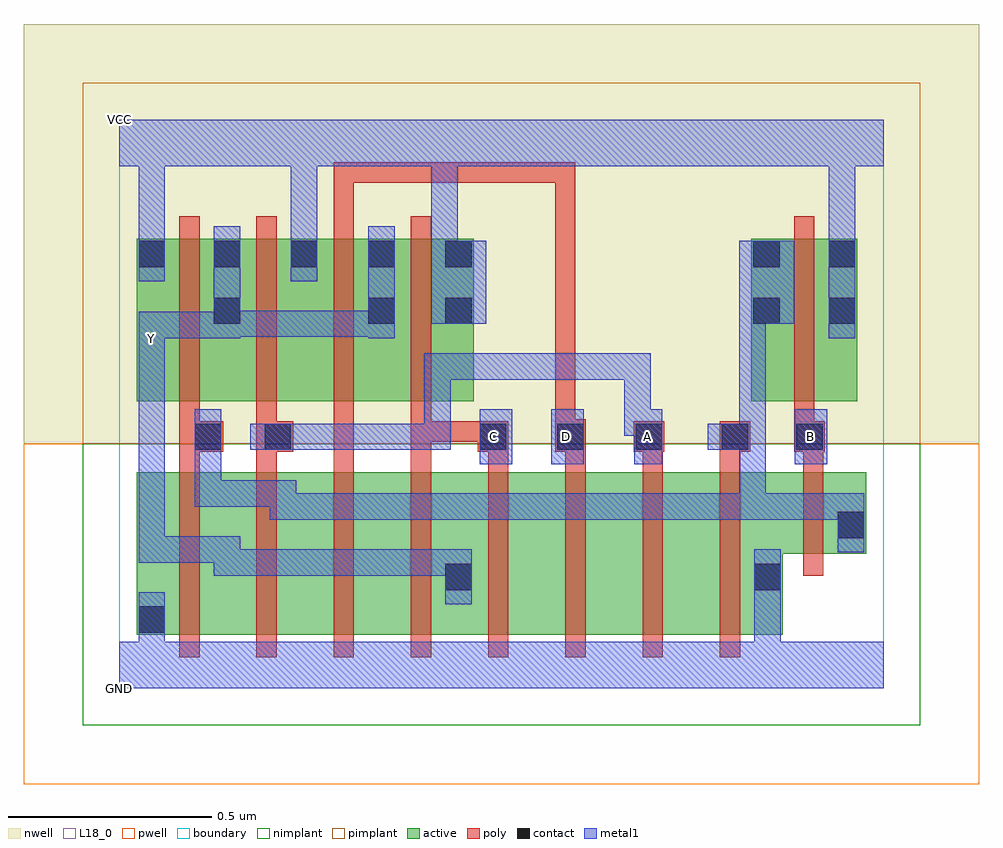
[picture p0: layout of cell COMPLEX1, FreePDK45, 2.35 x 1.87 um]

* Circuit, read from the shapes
.subckt COMPLEX1 A B C D GND VCC Y
M1 n1 n2 GND VSUBS nfet w=0.4u l=0.05u
M2 n3 A n1 VSUBS nfet w=0.4u l=0.05u
M3 n4 D n3 VSUBS nfet w=0.4u l=0.05u
M4 Y C n4 VSUBS nfet w=0.4u l=0.05u
M5 n5 C Y VSUBS nfet w=0.4u l=0.05u
M6 n6 D n5 VSUBS nfet w=0.4u l=0.05u
M7 n7 A n6 VSUBS nfet w=0.4u l=0.05u
M8 GND n2 n7 VSUBS nfet w=0.4u l=0.05u
M9 n2 B GND VSUBS nfet w=0.2u l=0.05u
M10 Y n2 VCC n8 pfet w=0.4u l=0.05u
M11 VCC A Y n8 pfet w=0.4u l=0.05u
M12 Y D VCC n8 pfet w=0.4u l=0.05u
M13 VCC C Y n8 pfet w=0.4u l=0.05u
M14 VCC B n2 n8 pfet w=0.4u l=0.05u
.ends

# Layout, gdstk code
import gdstk
lib = gdstk.Library(unit=1e-6, precision=1e-09)
def R(c, l, rs):  # rectangles x0, y0, x1, y1
    for r in rs: c.add(gdstk.rectangle(r[:2], r[2:], *l))
def A(c, l, x, y, w, h, nx, ny, dx, dy):  # array of equal rectangles
    R(c, l, [(x+i*dx, y+j*dy, x+i*dx+w, y+j*dy+h) for i in range(nx) for j in range(ny)])
active = (1, 0)
pwell = (2, 0)
nwell = (3, 0)
nimplant = (4, 0)
pimplant = (5, 0)
poly = (9, 0)
contact = (10, 0)
metal1 = (11, 0)
L18_0 = (18, 0)
boundary = (235, 0)

complex1 = lib.new_cell('COMPLEX1')
A(complex1, active, 0.227, 0.707, 0.265, 0.4, 3, 1, 0.19, 0)
R(complex1, active, [(0.042,0.132,0.117,0.532), (0.042,0.132,0.267,0.532), (0.267,0.132,0.457,0.532), (0.457,0.132,0.647,0.532), (0.647,0.132,0.872,0.532), (0.797,0.132,1.027,0.532), (1.027,0.132,1.217,0.532), (1.217,0.132,1.407,0.532), (1.407,0.132,1.632,0.532), (1.557,0.132,1.632,0.532), (0.797,0.147,0.872,0.492), (1.557,0.332,1.837,0.532), (1.762,0.347,1.837,0.532), (0.042,0.707,0.117,1.107), (0.042,0.707,0.302,1.107), (1.555,0.707,1.63,1.107), (1.555,0.707,1.815,1.107), (1.74,0.707,1.815,1.107), (0.797,0.782,0.872,1.107), (0.417,0.802,0.492,1.107), (0.607,0.862,0.682,1.107), (0.227,0.892,0.302,1.107)])
R(complex1, pwell, [(-0.235,-0.235,2.115,0.602)])
R(complex1, nwell, [(-0.235,0.602,2.115,1.635)])
R(complex1, nimplant, [(-0.09,-0.09,1.97,0.602)])
R(complex1, pimplant, [(-0.09,0.602,1.97,1.49)])
A(complex1, poly, 0.147, 0.077, 0.05, 0.51, 8, 1, 0.19, 0)
A(complex1, poly, 0.147, 0.537, 0.05, 0.095, 3, 1, 0.19, 0)
A(complex1, poly, 0.907, 0.537, 0.05, 0.095, 4, 1, 0.19, 0)
A(complex1, poly, 0.147, 0.652, 0.05, 0.51, 4, 1, 0.19, 0)
R(complex1, poly, [(1.682,0.277,1.732,0.587), (0.717,0.537,0.767,0.657), (1.682,0.537,1.732,0.632), (0.147,0.582,0.255,0.657), (0.337,0.582,0.427,0.657), (0.527,0.582,0.577,0.632), (0.527,0.582,0.577,0.702), (0.882,0.582,0.957,0.657), (1.072,0.582,1.147,0.662), (1.265,0.582,1.34,0.657), (1.477,0.582,1.552,0.657), (1.66,0.582,1.735,0.657), (0.147,0.607,0.197,0.702), (0.337,0.607,0.387,0.702), (0.717,0.607,0.767,0.702), (0.717,0.607,0.767,0.657), (0.717,0.607,0.932,0.657), (0.882,0.607,0.932,0.657), (0.882,0.607,0.932,0.657), (1.66,0.607,1.71,0.702), (1.072,0.612,1.122,0.662), (1.072,0.612,1.122,0.662), (1.072,0.612,1.122,0.662), (1.072,0.612,1.122,0.662), (1.072,0.612,1.122,0.662), (1.072,0.612,1.122,0.662), (1.072,0.612,1.122,0.662), (1.072,0.612,1.122,0.662), (1.072,0.612,1.122,1.295), (1.66,0.652,1.71,1.162), (0.527,1.112,0.577,1.295), (0.527,1.245,0.577,1.295), (0.527,1.245,0.577,1.295), (0.527,1.245,0.577,1.295), (0.527,1.245,0.8,1.295), (0.75,1.245,0.8,1.295), (0.75,1.245,0.8,1.295), (0.75,1.245,0.8,1.295), (0.75,1.245,0.99,1.295), (0.94,1.245,0.99,1.295), (0.94,1.245,0.99,1.295), (0.94,1.245,0.99,1.295), (0.94,1.245,1.122,1.295), (1.072,1.245,1.122,1.295)])
A(complex1, contact, 0.232, 1.037, 0.065, 0.065, 4, 1, 0.19, 0)
R(complex1, contact, [(0.047,0.137,0.112,0.202), (0.802,0.242,0.867,0.307), (1.562,0.242,1.627,0.307), (1.767,0.37,1.832,0.435), (0.185,0.587,0.25,0.652), (0.357,0.587,0.422,0.652), (0.887,0.587,0.952,0.652), (1.077,0.587,1.142,0.652), (1.27,0.587,1.335,0.652), (1.482,0.587,1.547,0.652), (1.665,0.587,1.73,0.652), (0.232,0.897,0.297,0.962), (0.612,0.897,0.677,0.962), (0.802,0.897,0.867,0.962), (1.56,0.897,1.625,0.962), (1.745,0.897,1.81,0.962), (0.047,1.037,0.112,1.102), (1.56,1.037,1.625,1.102), (1.745,1.037,1.81,1.102)])
R(complex1, metal1, [(0,0,1.88,0.115), (0.047,0.05,0.112,0.167), (1.562,0.05,1.627,0.272), (0.047,0.102,0.112,0.237), (0.802,0.207,0.867,0.342), (1.562,0.207,1.627,0.342), (0.232,0.277,0.435,0.342), (0.232,0.277,0.297,0.375), (0.37,0.277,0.435,0.342), (0.37,0.277,0.435,0.342), (0.37,0.277,0.435,0.342), (0.37,0.277,0.625,0.342), (0.56,0.277,0.625,0.342), (0.56,0.277,0.625,0.342), (0.56,0.277,0.625,0.342), (0.56,0.277,0.762,0.342), (0.697,0.277,0.762,0.342), (0.697,0.277,0.867,0.342), (0.047,0.31,0.112,0.375), (0.047,0.31,0.112,0.375), (0.047,0.31,0.112,0.375), (0.047,0.31,0.297,0.375), (0.047,0.31,0.112,0.857), (1.767,0.335,1.832,0.47), (1.767,0.405,1.832,0.47), (1.767,0.405,1.832,0.48), (0.37,0.415,0.435,0.48), (0.37,0.415,0.435,0.48), (0.37,0.415,0.625,0.48), (0.37,0.415,0.435,0.512), (0.56,0.415,0.625,0.48), (0.56,0.415,0.677,0.48), (0.612,0.415,0.677,0.48), (0.612,0.415,0.762,0.48), (0.697,0.415,0.762,0.48), (0.697,0.415,0.9,0.48), (0.835,0.415,0.9,0.48), (0.835,0.415,0.9,0.48), (0.835,0.415,0.9,0.48), (0.835,0.415,1.04,0.48), (0.975,0.415,1.04,0.48), (0.975,0.415,1.04,0.48), (0.975,0.415,1.04,0.48), (0.975,0.415,1.177,0.48), (1.112,0.415,1.177,0.48), (1.112,0.415,1.365,0.48), (1.3,0.415,1.365,0.48), (1.3,0.415,1.445,0.48), (1.38,0.415,1.445,0.48), (1.38,0.415,1.59,0.48), (1.525,0.415,1.59,0.48), (1.525,0.415,1.59,0.48), (1.525,0.415,1.59,0.48), (1.525,0.415,1.832,0.48), (1.525,0.415,1.59,0.652), (0.185,0.447,0.25,0.512), (0.185,0.447,0.435,0.512), (0.185,0.447,0.25,0.617), (0.185,0.552,0.25,0.617), (0.185,0.552,0.25,0.617), (0.185,0.552,0.25,0.687), (0.887,0.552,0.967,0.687), (1.062,0.552,1.142,0.687), (1.267,0.552,1.335,0.687), (1.662,0.552,1.742,0.687), (0.322,0.587,0.457,0.652), (0.39,0.587,0.457,0.652), (0.392,0.587,0.457,0.652), (0.392,0.587,0.625,0.652), (0.56,0.587,0.625,0.652), (0.56,0.587,0.677,0.652), (0.612,0.587,0.677,0.652), (0.612,0.587,0.762,0.652), (0.697,0.587,0.762,0.652), (0.697,0.587,0.815,0.652), (0.75,0.587,0.815,0.652), (0.75,0.587,0.815,0.825), (1.447,0.587,1.582,0.652), (1.517,0.587,1.582,0.652), (1.517,0.587,1.59,0.652), (1.525,0.587,1.59,0.962), (1.242,0.622,1.307,0.687), (1.242,0.622,1.332,0.687), (1.242,0.622,1.307,0.825), (0.75,0.76,0.815,0.825), (0.75,0.76,0.9,0.825), (0.835,0.76,0.9,0.825), (0.835,0.76,1.035,0.825), (0.97,0.76,1.035,0.825), (0.97,0.76,1.035,0.825), (0.97,0.76,1.035,0.825), (0.97,0.76,1.307,0.825), (1.242,0.76,1.307,0.825), (0.047,0.792,0.112,0.857), (0.047,0.792,0.112,0.857), (0.047,0.792,0.112,0.927), (0.047,0.862,0.112,0.927), (0.047,0.862,0.112,0.927), (0.047,0.862,0.21,0.927), (0.145,0.862,0.21,0.927), (0.145,0.862,0.297,0.927), (0.232,0.862,0.297,1.137), (0.612,0.862,0.677,1.137), (1.745,0.862,1.81,1.137), (0.232,0.865,0.435,0.93), (0.37,0.865,0.435,0.93), (0.37,0.865,0.435,0.93), (0.37,0.865,0.435,0.93), (0.37,0.865,0.625,0.93), (0.56,0.865,0.625,0.93), (0.56,0.865,0.677,0.93), (0.767,0.897,0.902,1.102), (1.525,0.897,1.66,1.102), (0.047,1.002,0.112,1.137), (0.422,1.002,0.487,1.137), (0.767,1.037,0.832,1.35), (0.047,1.072,0.112,1.35), (0.047,1.072,0.112,1.137), (0.047,1.072,0.112,1.137), (0.422,1.072,0.487,1.35), (1.745,1.072,1.81,1.35), (0,1.285,1.88,1.4), (0.422,1.285,0.487,1.35), (0.422,1.285,0.487,1.35), (0.767,1.285,0.832,1.35), (0.767,1.285,0.832,1.35), (1.745,1.285,1.81,1.35), (1.745,1.285,1.81,1.35)])
A(complex1, L18_0, 0.047, 0.792, 0.065, 0.065, 1, 3, 0, 0.035)
R(complex1, L18_0, [(0,0,1.88,0.115), (0.047,0.05,0.112,0.167), (1.562,0.05,1.627,0.272), (0.047,0.102,0.112,0.237), (0.802,0.207,0.867,0.342), (1.562,0.207,1.627,0.342), (0.232,0.277,0.297,0.375), (0.232,0.277,0.435,0.342), (0.37,0.277,0.435,0.342), (0.37,0.277,0.435,0.342), (0.37,0.277,0.435,0.342), (0.37,0.277,0.625,0.342), (0.56,0.277,0.625,0.342), (0.56,0.277,0.625,0.342), (0.56,0.277,0.625,0.342), (0.56,0.277,0.762,0.342), (0.697,0.277,0.762,0.342), (0.697,0.277,0.867,0.342), (0.047,0.31,0.112,0.375), (0.047,0.31,0.112,0.375), (0.047,0.31,0.112,0.375), (0.047,0.31,0.112,0.857), (0.047,0.31,0.297,0.375), (0.887,0.552,0.967,0.687), (1.062,0.552,1.142,0.687), (1.267,0.552,1.335,0.687), (1.662,0.552,1.742,0.687), (0.322,0.587,0.457,0.652), (0.39,0.587,0.457,0.652), (0.392,0.587,0.457,0.652), (0.392,0.587,0.625,0.652), (0.56,0.587,0.625,0.652), (0.56,0.587,0.677,0.652), (0.612,0.587,0.677,0.652), (0.612,0.587,0.762,0.652), (0.697,0.587,0.762,0.652), (0.697,0.587,0.815,0.652), (0.75,0.587,0.815,0.652), (0.75,0.587,0.815,0.825), (0.887,0.587,0.952,0.652), (1.067,0.587,1.132,0.652), (1.267,0.587,1.332,0.652), (1.667,0.587,1.732,0.652), (1.242,0.622,1.307,0.687), (1.242,0.622,1.307,0.825), (1.242,0.622,1.332,0.687), (0.75,0.76,0.815,0.825), (0.75,0.76,0.9,0.825), (0.835,0.76,0.9,0.825), (0.835,0.76,1.035,0.825), (0.97,0.76,1.035,0.825), (0.97,0.76,1.035,0.825), (0.97,0.76,1.035,0.825), (0.97,0.76,1.307,0.825), (1.242,0.76,1.307,0.825), (0.047,0.792,0.112,0.927), (0.047,0.792,0.112,0.857), (0.047,0.862,0.112,0.927), (0.047,0.862,0.21,0.927), (0.145,0.862,0.21,0.927), (0.145,0.862,0.297,0.927), (0.232,0.862,0.297,1.137), (0.612,0.862,0.677,1.137), (1.745,0.862,1.81,1.137), (0.232,0.865,0.435,0.93), (0.37,0.865,0.435,0.93), (0.37,0.865,0.435,0.93), (0.37,0.865,0.435,0.93), (0.37,0.865,0.625,0.93), (0.56,0.865,0.625,0.93), (0.56,0.865,0.677,0.93), (0.767,0.897,0.902,1.102), (0.047,1.002,0.112,1.137), (0.422,1.002,0.487,1.137), (0.767,1.037,0.832,1.35), (0.047,1.072,0.112,1.137), (0.047,1.072,0.112,1.137), (0.047,1.072,0.112,1.35), (0.422,1.072,0.487,1.35), (1.745,1.072,1.81,1.35), (0,1.285,1.88,1.4), (0.422,1.285,0.487,1.35), (0.422,1.285,0.487,1.35), (0.767,1.285,0.832,1.35), (0.767,1.285,0.832,1.35), (1.745,1.285,1.81,1.35), (1.745,1.285,1.81,1.35)])
R(complex1, boundary, [(0,0,1.88,1.4)])
complex1.add(gdstk.Label('A', (1.3,0.62), layer=11, texttype=0))
complex1.add(gdstk.Label('B', (1.7,0.62), layer=11, texttype=0))
complex1.add(gdstk.Label('C', (0.92,0.62), layer=11, texttype=0))
complex1.add(gdstk.Label('D', (1.1,0.62), layer=11, texttype=0))
complex1.add(gdstk.Label('Y', (0.08,0.86), layer=11, texttype=0))
complex1.add(gdstk.Label('VCC', (0,1.4), layer=11, texttype=0))
complex1.add(gdstk.Label('GND', (0,0), layer=11, texttype=0))

lib.write_gds('COMPLEX1.gds')
